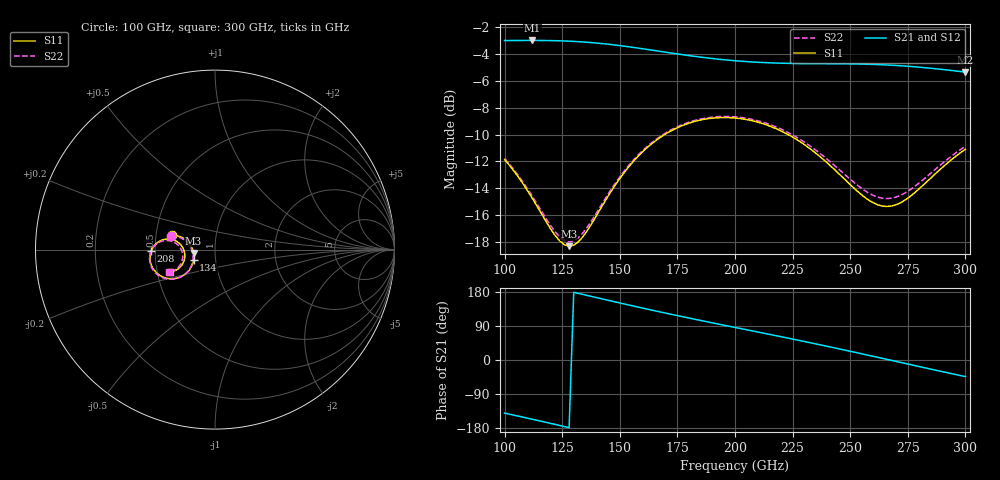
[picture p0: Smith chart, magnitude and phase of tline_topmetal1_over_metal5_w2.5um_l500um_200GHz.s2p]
#  GHZ S DB R 50
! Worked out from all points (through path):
!   101 points, 100 GHz to 300 GHz, reference 50 ohm
!   highest |S21| = -2.97 dB at 112 GHz (marker M1); lowest = -5.3 dB at 300 GHz (marker M2)
!   group delay of S21, straight-line fit = 3.62 ps
!   lowest |S11| = -18.3 dB at 128 GHz (marker M3), VSWR 1.28, Z = 39.3 - j1.5 ohm
!   |S11| at or under -10 dB: start of sweep to 169.4 GHz; 223.1 GHz to end of sweep
!   |S22| runs from -18.0 to -8.6 dB; largest |S21 - S12| = 6.7e-14
!   S11 on the Smith chart (normalised r, x): 100 GHz: 0.60, +0.10; 134 GHz: 0.78, -0.09; 208 GHz: 0.48, -0.01; 300 GHz: 0.58, -0.16
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100  -11.87 161.6  -2.98 -140.2  -2.98 -140.2  -11.79 162.8
112  -14.75 160.5  -2.97 -156.3  -2.97 -156.3  -14.60 162.0
122  -17.55 173.0  -2.99 -170.1  -2.99 -170.1  -17.27 174.3
128  -18.33 -171.1  -3.03 -178.5  -3.03 -178.5  -18.00 -170.4
134  -17.63 -154.9  -3.09 173.0  -3.09 173.0  -17.34 -154.9
142  -15.43 -142.9  -3.20 161.7  -3.20 161.7  -15.25 -143.2
152  -12.81 -140.8  -3.40 147.8  -3.40 147.8  -12.70 -140.8
160  -11.26 -144.0  -3.60 136.8  -3.60 136.8  -11.18 -143.8
168  -10.16 -149.0  -3.80 126.2  -3.80 126.2  -10.08 -148.6
176  -9.41 -154.8  -4.01 115.8  -4.01 115.8  -9.34 -154.2
184  -8.95 -160.9  -4.19 105.7  -4.19 105.7  -8.88 -160.2
200  -8.76 -173.1  -4.49 86.0  -4.49 86.0  -8.68 -172.0
208  -8.99 -178.8  -4.58 76.2  -4.58 76.2  -8.89 -177.5
222  -9.90 172.5  -4.68 59.0  -4.68 59.0  -9.76 174.2
234  -11.24 167.6  -4.70 43.8  -4.70 43.8  -11.03 169.7
244  -12.74 167.1  -4.71 30.9  -4.71 30.9  -12.43 169.3
252  -14.05 170.7  -4.73 20.4  -4.73 20.4  -13.62 172.8
260  -15.09 179.0  -4.76 9.7  -4.76 9.7  -14.54 -179.6
268  -15.33 -169.5  -4.82 -1.1  -4.82 -1.1  -14.75 -169.3
274  -14.86 -161.6  -4.89 -9.2  -4.89 -9.2  -14.34 -162.1
282  -13.72 -154.7  -5.00 -20.0  -5.00 -20.0  -13.32 -155.7
300  -11.09 -153.4  -5.34 -43.8  -5.34 -43.8  -10.87 -154.2
